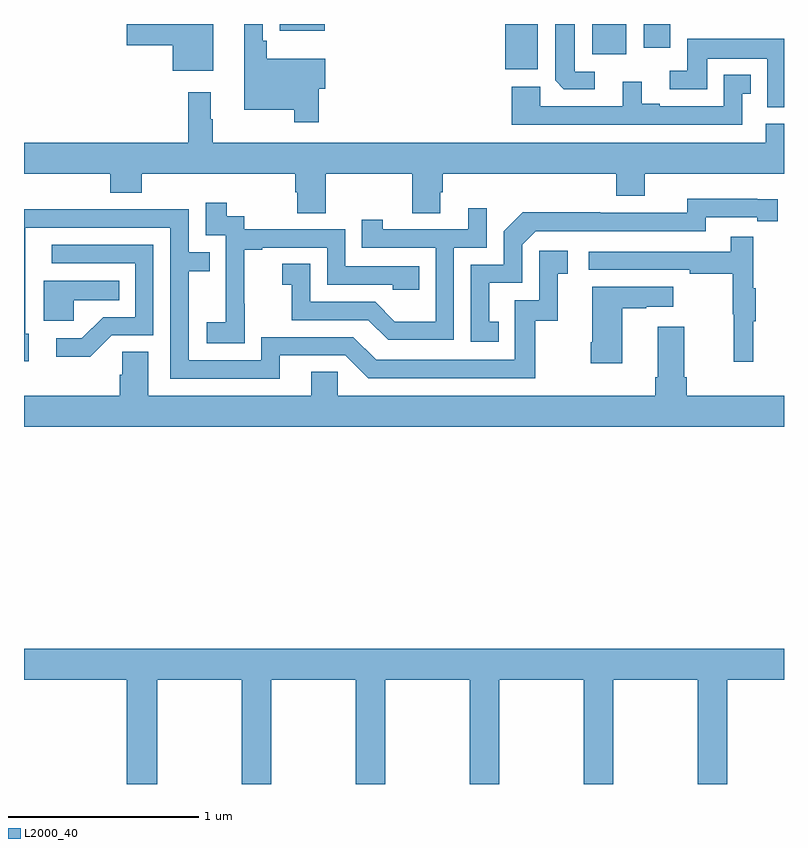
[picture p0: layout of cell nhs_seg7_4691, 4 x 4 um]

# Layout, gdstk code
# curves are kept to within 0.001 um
import gdstk
lib = gdstk.Library(unit=1e-6, precision=1e-09)
def R(c, l, rs):  # rectangles x0, y0, x1, y1
    for r in rs: c.add(gdstk.rectangle(r[:2], r[2:], *l))
def P(c, l, *ps):  # polygons
    for p in ps: c.add(gdstk.Polygon(p, *l))
L2000_40 = (2000, 40)

nhs_seg7_4691 = lib.new_cell('nhs_seg7_4691')
R(nhs_seg7_4691, L2000_40, [(407.534,1071.761,407.704,1072), (407.99,1071.84,408.169,1072), (408.263,1071.876,408.4,1072), (406.346,1071.965,406.582,1072)])
P(nhs_seg7_4691, L2000_40, [(406.55,1071.659),(406.585,1071.659),(406.585,1071.817),(406.277,1071.817),(406.277,1071.913),(406.257,1071.913),(406.257,1072),(406.16,1072),(406.16,1071.548),(406.422,1071.548),(406.422,1071.483),(406.55,1071.483)],
  [(408.004,1071.75),(407.899,1071.75),(407.899,1072),(407.795,1072),(407.795,1071.814),(407.796,1071.814),(407.796,1071.703),(407.842,1071.657),(408.004,1071.657)],
  [(405.997,1072),(405.54,1072),(405.54,1071.887),(405.782,1071.887),(405.782,1071.755),(405.997,1071.755)],
  [(409,1071.922),(408.491,1071.922),(408.491,1071.753),(408.399,1071.753),(408.399,1071.657),(408.595,1071.657),(408.595,1071.818),(408.911,1071.818),(408.911,1071.563),(409,1071.563)],
  [(408.78,1071.633),(408.826,1071.633),(408.826,1071.733),(408.684,1071.733),(408.684,1071.567),(408.346,1071.567),(408.346,1071.58),(408.25,1071.58),(408.25,1071.697),(408.152,1071.697),(408.152,1071.567),(407.718,1071.567),(407.718,1071.67),(407.567,1071.67),(407.567,1071.471),(408.78,1071.471)],
  [(406.587,1071.212),(407.044,1071.212),(407.044,1071.004),(407.191,1071.004),(407.191,1071.114),(407.204,1071.114),(407.204,1071.212),(408.116,1071.212),(408.116,1071.095),(408.268,1071.095),(408.268,1071.212),(409,1071.212),(409,1071.475),(408.905,1071.475),(408.905,1071.376),(405.994,1071.376),(405.994,1071.5),(405.982,1071.5),(405.982,1071.64),(405.865,1071.64),(405.865,1071.376),(405,1071.376),(405,1071.212),(405.455,1071.212),(405.455,1071.113),(405.62,1071.113),(405.62,1071.212),(406.427,1071.212),(406.427,1071.114),(406.439,1071.114),(406.439,1071.004),(406.587,1071.004)],
  [(407.498,1070.433),(407.449,1070.433),(407.449,1070.637),(407.622,1070.637),(407.622,1070.838),(407.694,1070.91),(408.588,1070.91),(408.588,1070.982),(408.86,1070.982),(408.86,1070.962),(408.968,1070.962),(408.968,1071.078),(408.492,1071.079),(408.492,1071.006),(408.032,1071.006),(408.032,1071.008),(407.624,1071.008),(407.526,1070.91),(407.526,1070.733),(407.352,1070.733),(407.352,1070.328),(407.498,1070.328)],
  [(406.161,1070.527),(406.16,1070.527),(406.16,1070.811),(406.255,1070.811),(406.255,1070.823),(406.596,1070.823),(406.596,1070.628),(406.941,1070.628),(406.941,1070.601),(407.081,1070.601),(407.081,1070.724),(406.692,1070.724),(406.692,1070.919),(406.158,1070.919),(406.158,1070.988),(406.066,1070.988),(406.066,1071.058),(405.957,1071.058),(405.957,1070.889),(406.062,1070.889),(406.062,1070.66),(406.061,1070.66),(406.061,1070.431),(405.963,1070.431),(405.963,1070.321),(406.161,1070.321)],
  [(407.262,1070.823),(407.436,1070.823),(407.436,1071.031),(407.339,1071.031),(407.339,1070.919),(406.888,1070.919),(406.888,1070.971),(406.777,1070.971),(406.777,1070.823),(407.166,1070.823),(407.166,1070.434),(406.952,1070.434),(406.848,1070.538),(406.506,1070.538),(406.506,1070.737),(406.359,1070.737),(406.359,1070.627),(406.408,1070.627),(406.408,1070.442),(406.811,1070.442),(406.916,1070.337),(407.262,1070.337)],
  [(406.345,1070.256),(406.692,1070.256),(406.812,1070.136),(407.692,1070.136),(407.692,1070.439),(407.81,1070.439),(407.81,1070.685),(407.863,1070.685),(407.863,1070.806),(407.712,1070.806),(407.712,1070.547),(407.583,1070.547),(407.583,1070.232),(406.854,1070.232),(406.734,1070.352),(406.248,1070.352),(406.248,1070.229),(405.867,1070.229),(405.867,1070.698),(405.977,1070.698),(405.977,1070.799),(405.867,1070.799),(405.867,1071.024),(405.371,1071.024),(405.371,1071.026),(405,1071.026),(405,1070.226),(405.025,1070.226),(405.025,1070.37),(405.006,1070.37),(405.007,1070.928),(405.771,1070.928),(405.771,1070.133),(406.345,1070.133)],
  [(408.839,1070.435),(408.85,1070.435),(408.85,1070.609),(408.839,1070.609),(408.839,1070.881),(408.721,1070.881),(408.721,1070.802),(407.973,1070.802),(407.973,1070.706),(408.505,1070.706),(408.505,1070.686),(408.729,1070.686),(408.729,1070.472),(408.736,1070.472),(408.736,1070.223),(408.839,1070.223)],
  [(405.462,1070.361),(405.681,1070.361),(405.681,1070.838),(405.147,1070.838),(405.147,1070.742),(405.585,1070.742),(405.585,1070.457),(405.416,1070.457),(405.305,1070.346),(405.171,1070.346),(405.171,1070.249),(405.349,1070.249)],
  [(405.261,1070.546),(405.5,1070.546),(405.5,1070.65),(405.104,1070.65),(405.104,1070.438),(405.261,1070.438)],
  [(408.148,1070.503),(408.275,1070.503),(408.275,1070.513),(408.418,1070.513),(408.418,1070.617),(407.99,1070.617),(407.99,1070.326),(407.983,1070.326),(407.983,1070.214),(408.148,1070.214)],
  [(409,1070.044),(408.488,1070.044),(408.488,1070.14),(408.475,1070.14),(408.475,1070.407),(408.335,1070.407),(408.335,1070.14),(408.323,1070.14),(408.323,1070.044),(406.65,1070.044),(406.65,1070.171),(406.511,1070.171),(406.511,1070.044),(405.655,1070.044),(405.655,1070.276),(405.516,1070.276),(405.516,1070.153),(405.503,1070.153),(405.503,1070.044),(405,1070.044),(405,1069.88),(409,1069.88)],
  [(405.702,1068.548),(406.147,1068.548),(406.147,1068),(406.302,1068),(406.302,1068.548),(406.747,1068.548),(406.747,1068),(406.902,1068),(406.902,1068.548),(407.347,1068.548),(407.347,1068),(407.502,1068),(407.502,1068.548),(407.947,1068.548),(407.947,1068),(408.102,1068),(408.102,1068.548),(408.547,1068.548),(408.547,1068),(408.702,1068),(408.702,1068.548),(409,1068.548),(409,1068.712),(405,1068.712),(405,1068.548),(405.542,1068.548),(405.542,1068),(405.702,1068)])

lib.write_gds('nhs_seg7_4691.gds')
